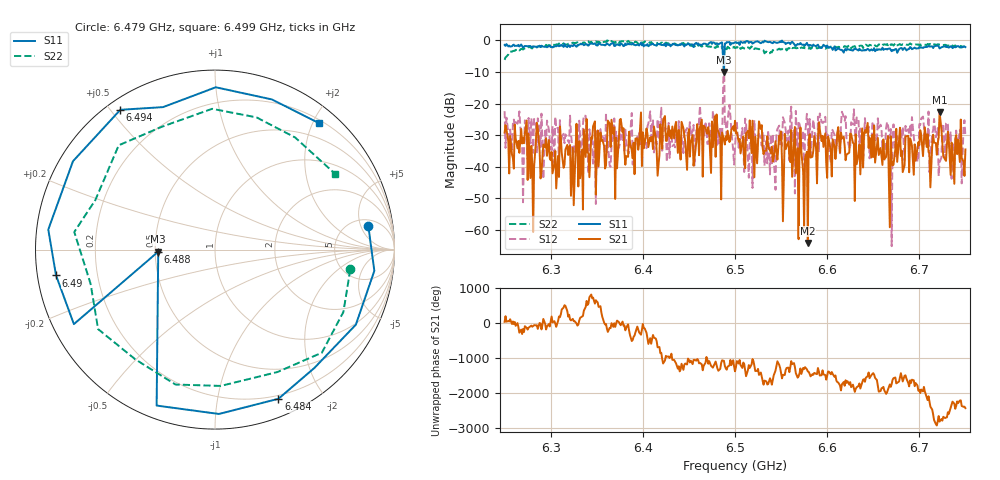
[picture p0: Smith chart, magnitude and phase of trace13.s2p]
# Hz S RI R 50
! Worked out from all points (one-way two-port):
!   401 points, 6.25 GHz to 6.75 GHz, reference 50 ohm
!   highest |S21| = -22.64 dB at 6.722 GHz (marker M1); lowest = -64.2 dB at 6.579 GHz (marker M2)
!   lowest |S11| = -10.0 dB at 6.488 GHz (marker M3), VSWR 1.93, Z = 26 - j0.664 ohm
!   |S11| at or under -10 dB: nowhere
!   |S22| runs from -6.2 to 0.0 dB; largest |S21 - S12| = 0.77
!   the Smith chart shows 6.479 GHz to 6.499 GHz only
!   S11 on the Smith chart (normalised r, x): 6.479 GHz: 6.44, +6.82; 6.484 GHz: 0.17, -1.50; 6.488 GHz: 0.52, -0.01; 6.49 GHz: 0.05, -0.08; 6.494 GHz: 0.04, +0.53; 6.499 GHz: 0.25, +2.08
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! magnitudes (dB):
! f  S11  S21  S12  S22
! 6.25 GHz  -1.5  -29.2  -22.4  -6.2
! 6.271 GHz  -2.0  -32.6  -35.6  -2.7
! 6.28 GHz  -2.2  -39.1  -28.0  -2.5
! 6.285 GHz  -2.3  -26.1  -35.7  -2.0
! 6.334 GHz  -1.2  -34.7  -39.0  -1.3
! 6.349 GHz  -1.4  -48.8  -51.8  -0.3
! 6.418 GHz  -1.1  -36.2  -31.6  -1.3
! 6.479 GHz  -1.3  -36.9  -27.7  -2.4
! 6.484 GHz  -0.9  -30.9  -27.3  -2.4
! 6.488 GHz  -10.0  -31.6  -2.5  -2.1
! 6.49 GHz  -0.9  -30.4  -26.2  -2.0
! 6.494 GHz  -0.5  -32.2  -20.4  -2.5
! 6.499 GHz  -0.8  -28.6  -39.3  -2.0
! 6.5 GHz  -0.6  -25.5  -33.9  -2.4
! 6.562 GHz  -0.4  -43.2  -32.2  -2.5
! 6.576 GHz  -1.6  -37.4  -30.1  -2.5
! 6.579 GHz  -1.5  -64.2  -27.1  -2.4
! 6.584 GHz  -1.8  -36.9  -28.2  -2.2
! 6.668 GHz  -2.5  -59.2  -30.9  -0.9
! 6.702 GHz  -2.2  -29.8  -24.7  -1.5
! 6.722 GHz  -2.6  -22.6  -38.6  -1.3
! 6.75 GHz  -2.1  -34.5  -30.3  -2.4
